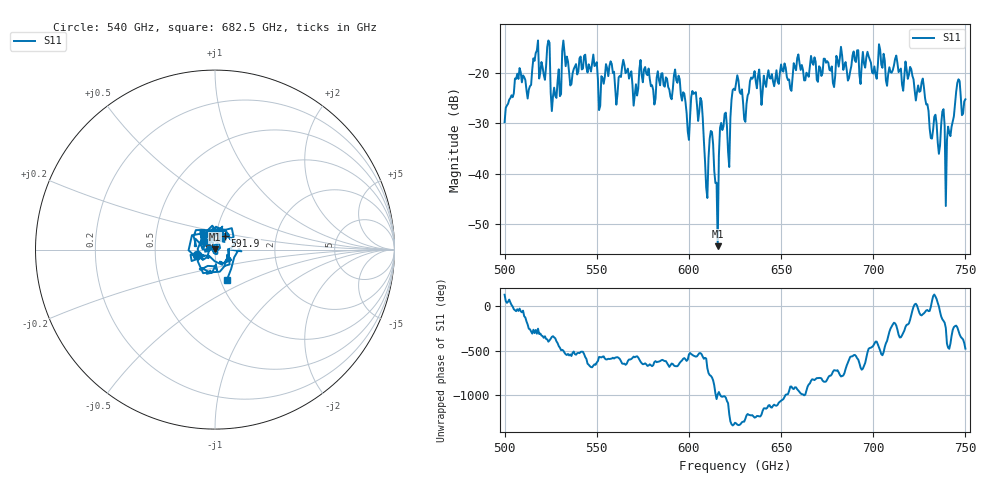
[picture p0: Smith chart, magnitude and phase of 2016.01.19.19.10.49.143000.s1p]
!Created with skrf (http://scikit-rf.org).
# GHz S RI R 50.0
!freq ReS11 ImS11
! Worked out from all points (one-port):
!   401 points, 500 GHz to 750 GHz, reference 50 ohm
!   lowest |S11| = -54.4 dB at 615.6 GHz (marker M1), VSWR 1.00, Z = 50 + j0.191 ohm
!   |S11| at or under -10 dB: start of sweep to end of sweep
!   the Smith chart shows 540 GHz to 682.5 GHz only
!   S11 on the Smith chart (normalised r, x): 540 GHz: 0.82, -0.05; 591.9 GHz: 1.10, +0.17; 682.5 GHz: 1.08, -0.37
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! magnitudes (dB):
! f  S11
! 500 GHz  -29.8
! 513.1 GHz  -23.3
! 516.9 GHz  -16.1
! 523.8 GHz  -13.6
! 526.9 GHz  -22.9
! 531.2 GHz  -15.7
! 540 GHz  -19.8
! 562.5 GHz  -20.6
! 591.9 GHz  -20.5
! 593.8 GHz  -22.0
! 599.4 GHz  -31.7
! 603.1 GHz  -24.0
! 606.9 GHz  -25.6
! 609.4 GHz  -42.8
! 611.9 GHz  -31.5
! 615.6 GHz  -54.4
! 618.1 GHz  -31.3
! 621.9 GHz  -38.7
! 625 GHz  -23.4
! 630.6 GHz  -29.7
! 634.4 GHz  -21.2
! 656.2 GHz  -20.8
! 682.5 GHz  -14.8
! 687.5 GHz  -19.7
! 718.8 GHz  -21.2
! 740.6 GHz  -30.7
! 745.6 GHz  -22.0
! 750 GHz  -25.3
